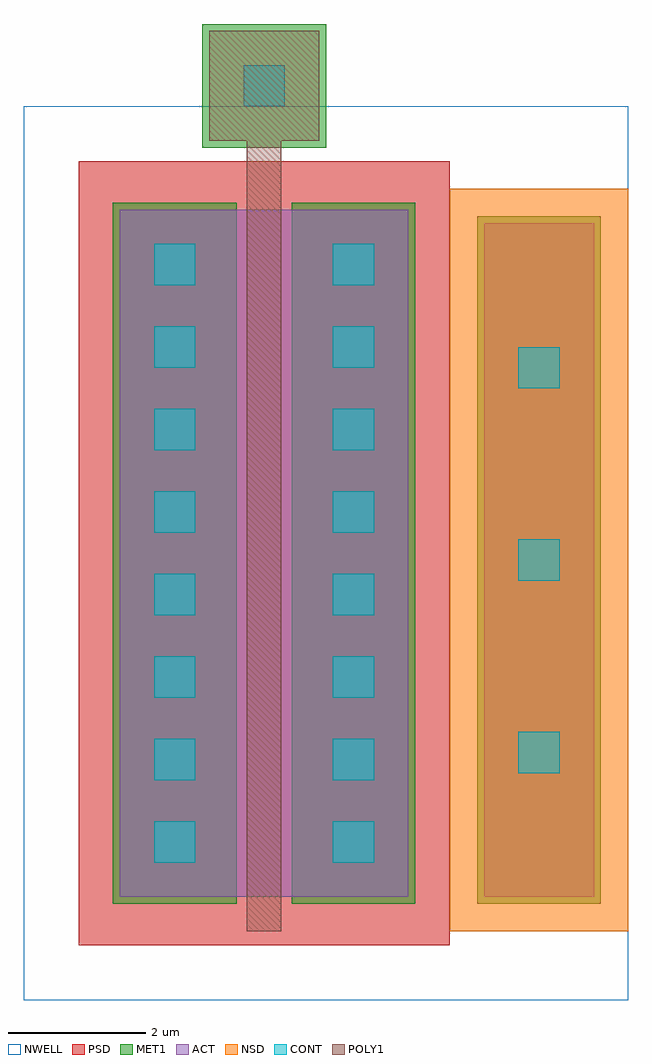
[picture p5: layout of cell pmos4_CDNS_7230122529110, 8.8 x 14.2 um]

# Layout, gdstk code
import gdstk
lib = gdstk.Library(unit=1e-6, precision=1e-09)
def R(c, l, rs):  # rectangles x0, y0, x1, y1
    for r in rs: c.add(gdstk.rectangle(r[:2], r[2:], *l))
def A(c, l, x, y, w, h, nx, ny, dx, dy):  # array of equal rectangles
    R(c, l, [(x+i*dx, y+j*dy, x+i*dx+w, y+j*dy+h) for i in range(nx) for j in range(ny)])
NWELL = (2, 0)
ACT = (11, 0)
POLY1 = (12, 0)
NSD = (14, 0)
PSD = (15, 0)
CONT = (31, 0)
MET1 = (32, 0)

poly1cont_cdns_723012252 = lib.new_cell('poly1cont_CDNS_723012252918')
R(poly1cont_cdns_723012252, POLY1, [(0.1,0.1,1.7,1.7)])
R(poly1cont_cdns_723012252, CONT, [(0.6,0.6,1.2,1.2)])
R(poly1cont_cdns_723012252, MET1, [(0,0,1.8,1.8)])

ntap_cdns_7230122529111 = lib.new_cell('ntap_CDNS_7230122529111')
R(ntap_cdns_7230122529111, ACT, [(0.5,0.5,2.1,10.3)])
R(ntap_cdns_7230122529111, NSD, [(0,0,2.6,10.8)])
A(ntap_cdns_7230122529111, CONT, 1, 2.3, 0.6, 0.6, 1, 3, 0, 2.8)
R(ntap_cdns_7230122529111, MET1, [(0.4,0.4,2.2,10.4)])

pmos4_cdns_7230122529110 = lib.new_cell('pmos4_CDNS_7230122529110')
R(pmos4_cdns_7230122529110, NWELL, [(-0.8,-0.8,6.2,12.2), (6.2,-0.8,8,12.2)])
R(pmos4_cdns_7230122529110, ACT, [(0.6,0.7,4.8,10.7)])
R(pmos4_cdns_7230122529110, POLY1, [(2.45,0.2,2.95,11.2), (2.45,11.2,2.95,11.7)])
R(pmos4_cdns_7230122529110, PSD, [(0,0,5.4,11.4)])
A(pmos4_cdns_7230122529110, CONT, 3.7, 1.2, 0.6, 0.6, 1, 8, 0, 1.2)
R(pmos4_cdns_7230122529110, CONT, [(1.1,1.2,1.7,1.8), (1.1,1.2,1.7,1.8), (1.1,2.4,1.7,3), (1.1,2.4,1.7,3), (1.1,3.6,1.7,4.2), (1.1,3.6,1.7,4.2), (1.1,4.8,1.7,5.4), (1.1,4.8,1.7,5.4), (1.1,6,1.7,6.6), (1.1,6,1.7,6.6), (1.1,7.2,1.7,7.8), (1.1,7.2,1.7,7.8), (1.1,8.4,1.7,9), (1.1,8.4,1.7,9), (1.1,9.6,1.7,10.2), (1.1,9.6,1.7,10.2)])
R(pmos4_cdns_7230122529110, MET1, [(0.5,0.6,2.3,10.8), (3.1,0.6,4.9,10.8)])
pmos4_cdns_7230122529110.add(gdstk.Reference(poly1cont_cdns_723012252, (1.8,11.6)))
pmos4_cdns_7230122529110.add(gdstk.Reference(ntap_cdns_7230122529111, (5.4,0.2)))

lib.write_gds('pmos4_CDNS_7230122529110.gds')
